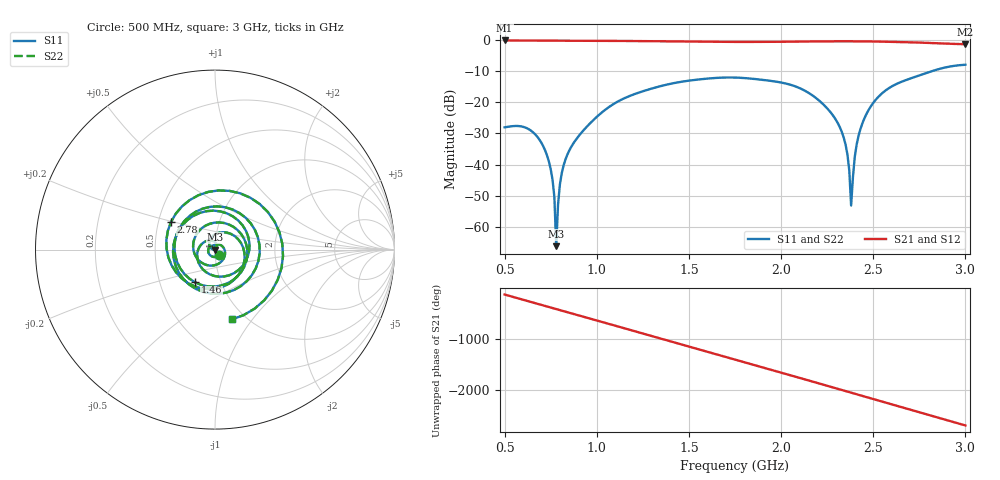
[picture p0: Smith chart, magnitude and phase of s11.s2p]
!freq-unit  param-type  data-format  keyword  impedance-ohms
# GHZ  S  RI  R  50
!Freq  ReS11  ImS11  ReS21  ImS21  ReS12  ImS12  ReS22  ImS22
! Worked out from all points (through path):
!   251 points, 500 MHz to 3 GHz, reference 50 ohm
!   highest |S21| = -0.16 dB at 500 MHz (marker M1); lowest = -1.4 dB at 3 GHz (marker M2)
!   group delay of S21, straight-line fit = 2.83 ns
!   lowest |S11| = -66.2 dB at 780 MHz (marker M3), VSWR 1.00, Z = 50 + j0.0474 ohm
!   |S11| at or under -10 dB: start of sweep to 2.819 GHz
!   |S22| runs from -66.2 to -8.0 dB; largest |S21 - S12| = 0
!   S11 on the Smith chart (normalised r, x): 500 MHz: 1.05, -0.07; 1.46 GHz: 0.75, -0.29; 2.78 GHz: 0.58, +0.19; 3 GHz: 0.86, -0.80
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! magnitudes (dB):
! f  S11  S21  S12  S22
! 500 MHz  -28.0  -0.2  -0.2  -28.0
! 630 MHz  -28.6  -0.2  -0.2  -28.6
! 720 MHz  -35.5  -0.2  -0.2  -35.5
! 760 MHz  -44.9  -0.2  -0.2  -44.9
! 770 MHz  -50.4  -0.2  -0.2  -50.4
! 780 MHz  -66.2  -0.2  -0.2  -66.2
! 790 MHz  -52.8  -0.2  -0.2  -52.8
! 810 MHz  -42.8  -0.2  -0.2  -42.8
! 920 MHz  -29.6  -0.2  -0.2  -29.6
! 1.34 GHz  -14.9  -0.4  -0.4  -14.9
! 1.46 GHz  -13.4  -0.5  -0.5  -13.4
! 1.75 GHz  -12.1  -0.6  -0.6  -12.1
! 2.17 GHz  -17.8  -0.5  -0.5  -17.8
! 2.33 GHz  -29.6  -0.4  -0.4  -29.6
! 2.36 GHz  -36.8  -0.4  -0.4  -36.8
! 2.37 GHz  -41.9  -0.4  -0.4  -41.9
! 2.38 GHz  -53.1  -0.4  -0.4  -53.1
! 2.4 GHz  -37.4  -0.4  -0.4  -37.4
! 2.43 GHz  -28.7  -0.4  -0.4  -28.7
! 2.59 GHz  -15.3  -0.6  -0.6  -15.3
! 2.78 GHz  -10.8  -0.9  -0.9  -10.8
! 3 GHz  -8.0  -1.4  -1.4  -8.0
